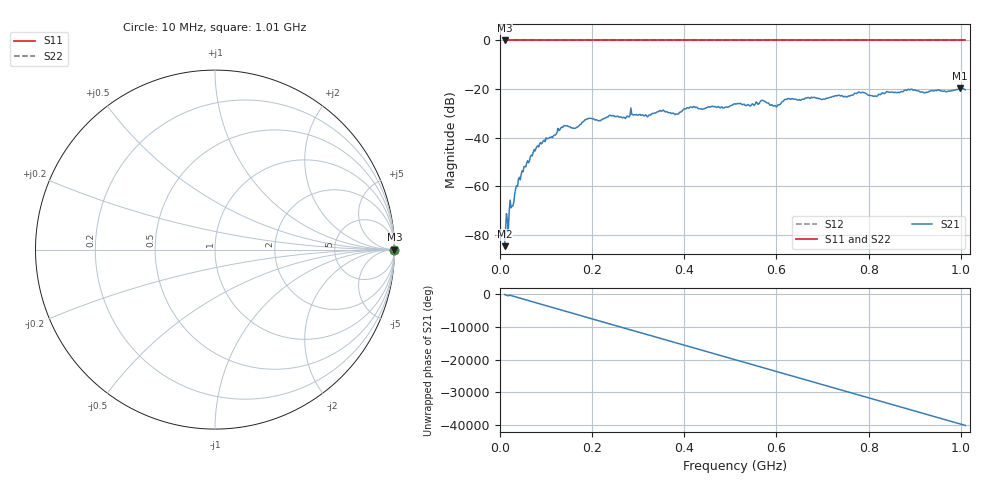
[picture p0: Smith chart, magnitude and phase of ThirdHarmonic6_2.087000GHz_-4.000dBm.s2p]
! 8/17/2025 12:58:49 AM
! C:\ANRITSUVNA\TEMP\TEMP.S2P
! CHANNEL.1
! TR.MEASUREMENT
! RAW.DATA
! RF.CORRECTION.OFF
! AVERAGING.OFF
! IF.BANDWIDTH: 5KHZ
! SWEEPTYPE:  FREQ.SWEEP(Linear)
! Reference Plane Port Info
! PORT:  PORT1  PORT2
! DISTANCE:  0  m  0  m
! TIME:  0  s  0  s
! PHASE.OFFSET:  0  deg.  0  deg.
! LOSS:  0  dB  0  dB
! REF.LOSS:  0  dB  0  dB
! REF.FREQ:  0  Hz  0  Hz
! Power Info
! POWER:  -20  dBm  -20  dBm
! EFF.POWER:  -20  dBm  -20  dBm
! SOURCE.ATTEN:  0  dB  0  dB
! TEST.ATTEN:  0  dB  0  dB
# GHZ S RI R 50.0
! FREQ.GHZ  S11RE  S11IM  S21RE  S21IM  S12RE  S12IM  S22RE  S22IM
!; PortSelection: Port_12
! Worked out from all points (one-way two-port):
!   501 points, 10 MHz to 1.01 GHz, reference 50 ohm
!   highest |S21| = -19.54 dB at 998 MHz (marker M1); lowest = -84.6 dB at 10 MHz (marker M2)
!   lowest |S11| = 0.0 dB at 10 MHz (marker M3)
!   |S11| at or under -10 dB: nowhere
!   |S22| runs from 0.0 to 0.0 dB; largest |S21 - S12| = 1.1
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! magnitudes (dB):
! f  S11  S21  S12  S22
! 10 MHz  0.0  -84.6  0.0  0.0
! 44 MHz  0.0  -57.3  0.0  0.0
! 78 MHz  0.0  -44.4  0.0  0.0
! 136 MHz  0.0  -35.8  0.0  0.0
! 162 MHz  0.0  -36.2  0.0  0.0
! 178 MHz  0.0  -33.7  0.0  0.0
! 194 MHz  0.0  -32.0  0.0  0.0
! 288 MHz  0.0  -30.5  0.0  0.0
! 322 MHz  0.0  -31.0  0.0  0.0
! 344 MHz  0.0  -29.3  0.0  0.0
! 384 MHz  0.0  -30.3  0.0  0.0
! 416 MHz  0.0  -27.6  0.0  0.0
! 510 MHz  0.0  -26.1  0.0  0.0
! 570 MHz  0.0  -24.6  0.0  0.0
! 598 MHz  0.0  -26.9  0.0  0.0
! 622 MHz  0.0  -24.3  0.0  0.0
! 678 MHz  0.0  -23.5  0.0  0.0
! 782 MHz  0.0  -21.5  0.0  0.0
! 814 MHz  0.0  -22.8  0.0  0.0
! 844 MHz  0.0  -21.3  0.0  0.0
! 998 MHz  0.0  -19.5  0.0  0.0
! 1.01 GHz  0.0  -20.3  0.0  0.0
